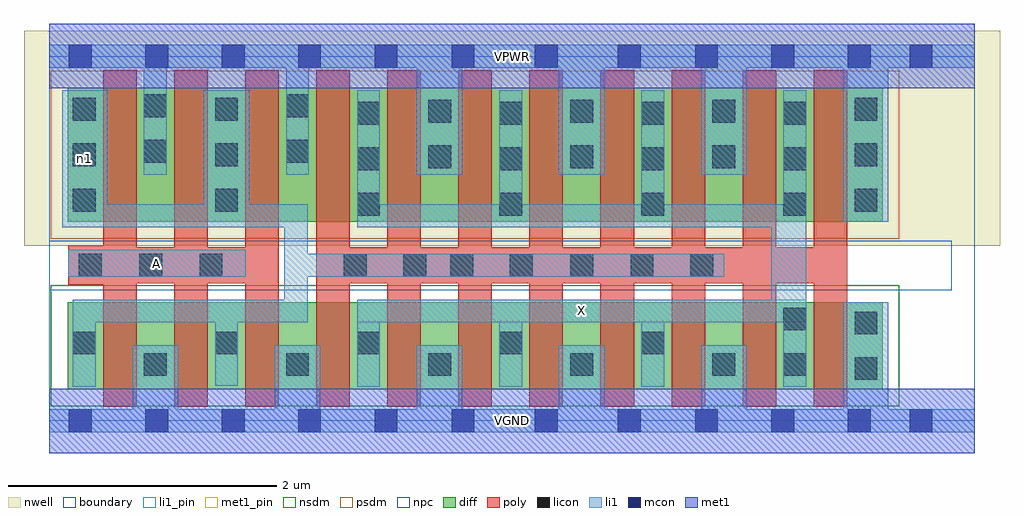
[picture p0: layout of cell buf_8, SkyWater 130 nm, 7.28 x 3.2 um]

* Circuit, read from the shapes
.subckt buf_8 A VGND VPWR X n1
XM1 VGND A n1 VSUBS sky130_fd_pr__nfet_01v8 w=0.65 l=0.25 m=3
XM2 X n1 VGND VSUBS sky130_fd_pr__nfet_01v8 w=0.65 l=0.25 m=8
XM3 VPWR A n1 n2 sky130_fd_pr__pfet_01v8 w=1 l=0.25 m=3
XM4 X n1 VPWR n2 sky130_fd_pr__pfet_01v8 w=1 l=0.25 m=8
.ends

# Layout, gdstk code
import gdstk
lib = gdstk.Library(unit=1e-6, precision=1e-09)
def R(c, l, rs):  # rectangles x0, y0, x1, y1
    for r in rs: c.add(gdstk.rectangle(r[:2], r[2:], *l))
def A(c, l, x, y, w, h, nx, ny, dx, dy):  # array of equal rectangles
    R(c, l, [(x+i*dx, y+j*dy, x+i*dx+w, y+j*dy+h) for i in range(nx) for j in range(ny)])
nwell = (64, 20)
diff = (65, 20)
poly = (66, 20)
licon = (66, 44)
li1_pin = (67, 16)
li1 = (67, 20)
mcon = (67, 44)
met1_pin = (68, 16)
met1 = (68, 20)
nsdm = (93, 44)
psdm = (94, 20)
npc = (95, 20)
boundary = (235, 4)

buf_8 = lib.new_cell('buf_8')
R(buf_8, nwell, [(-0.19,1.305,7.09,2.91), (0,1.305,6.9,2.91)])
R(buf_8, diff, [(0.135,0.235,6.215,0.885), (0.135,1.485,6.215,2.485)])
A(buf_8, poly, 0.4, 0.105, 0.25, 2.51, 11, 1, 0.53, 0)
R(buf_8, poly, [(0.14,1.015,0.65,1.305), (0.14,1.025,1.71,1.295), (1.99,1.025,5.95,1.295)])
A(buf_8, licon, 0.705, 0.335, 0.17, 0.17, 5, 1, 1.06, 0)
A(buf_8, licon, 0.175, 0.495, 0.17, 0.17, 5, 1, 1.06, 0)
A(buf_8, licon, 0.22, 1.075, 0.17, 0.17, 3, 1, 0.45, 0)
A(buf_8, licon, 3.435, 1.075, 0.17, 0.17, 3, 1, 0.45, 0)
A(buf_8, licon, 2.295, 1.53, 0.17, 0.17, 4, 3, 1.06, 0.34)
A(buf_8, licon, 0.175, 1.56, 0.17, 0.17, 1, 3, 0, 0.34)
A(buf_8, licon, 1.235, 1.56, 0.17, 0.17, 1, 3, 0, 0.34)
A(buf_8, licon, 6.005, 1.56, 0.17, 0.17, 1, 3, 0, 0.34)
A(buf_8, licon, 2.825, 1.885, 0.17, 0.17, 3, 2, 1.06, 0.34)
R(buf_8, licon, [(6.005,0.305,6.175,0.475), (5.475,0.335,5.645,0.505), (6.005,0.645,6.175,0.815), (5.475,0.675,5.645,0.845), (2.195,1.075,2.365,1.245), (2.64,1.075,2.81,1.245), (2.99,1.075,3.16,1.245), (4.78,1.075,4.95,1.245), (0.705,1.925,0.875,2.095), (1.765,1.925,1.935,2.095), (0.705,2.265,0.875,2.435), (1.765,2.265,1.935,2.435)])
R(buf_8, li1_pin, [(2.295,0.735,5.645,0.905), (0.14,1.075,1.465,1.275)])
A(buf_8, li1, 0.62, -0.085, 0.34, 0.65, 5, 1, 1.06, 0)
A(buf_8, li1, 2.295, 0.255, 0.17, 0.65, 3, 1, 1.06, 0)
A(buf_8, li1, 2.295, 1.445, 0.17, 1.02, 3, 1, 1.06, 0)
A(buf_8, li1, 2.74, 1.835, 0.34, 0.97, 3, 1, 1.06, 0)
R(buf_8, li1, [(0,-0.085,6.9,0.085), (5.92,-0.085,6.255,0.885), (0.175,0.255,0.345,0.905), (5.475,0.255,5.645,2.465), (1.235,0.26,1.405,0.905), (0.175,0.735,1.925,0.905), (1.75,0.735,1.925,1.615), (2.295,0.735,5.645,0.905), (5.385,0.735,5.645,1.615), (0.14,1.075,1.465,1.275), (1.75,1.075,5.035,1.245), (0.095,1.445,0.43,2.465), (0.095,1.445,1.925,1.615), (1.15,1.445,1.49,2.465), (2.295,1.445,5.645,1.615), (5.92,1.485,6.255,2.805), (0.705,1.835,0.875,2.805), (1.765,1.835,1.935,2.805), (0,2.635,6.9,2.805)])
A(buf_8, mcon, 0.145, -0.085, 0.17, 0.17, 5, 2, 0.57, 2.72)
A(buf_8, mcon, 3, -0.085, 0.17, 0.17, 3, 2, 0.62, 2.72)
A(buf_8, mcon, 4.815, -0.085, 0.17, 0.17, 3, 2, 0.57, 2.72)
R(buf_8, mcon, [(6.415,-0.085,6.585,0.085), (6.415,2.635,6.585,2.805)])
R(buf_8, met1_pin, [(0,-0.24,6.9,0.24), (0,2.48,6.9,2.96)])
R(buf_8, met1, [(0,-0.24,6.9,0.24), (0,2.48,6.9,2.96)])
R(buf_8, nsdm, [(0.01,0.11,6.34,1.01)])
R(buf_8, psdm, [(0.01,1.36,6.34,2.61)])
R(buf_8, npc, [(0,0.975,6.73,1.345)])
R(buf_8, boundary, [(0,0,6.9,2.72)])
buf_8.add(gdstk.Label('A', (0.802,1.175), layer=67, texttype=5))
buf_8.add(gdstk.Label('X', (3.97,0.82), layer=67, texttype=5))
buf_8.add(gdstk.Label('n1', (0.262,1.955), layer=67, texttype=5))
buf_8.add(gdstk.Label('VPWR', (3.45,2.72), layer=68, texttype=5))
buf_8.add(gdstk.Label('VGND', (3.45,0), layer=68, texttype=5))
buf_8.add(gdstk.Label('A', (0.802,1.175), layer=67, texttype=16))
buf_8.add(gdstk.Label('X', (3.97,0.82), layer=67, texttype=16))
buf_8.add(gdstk.Label('VPWR', (3.45,2.72), layer=68, texttype=16))
buf_8.add(gdstk.Label('VGND', (3.45,0), layer=68, texttype=16))

lib.write_gds('buf_8.gds')
